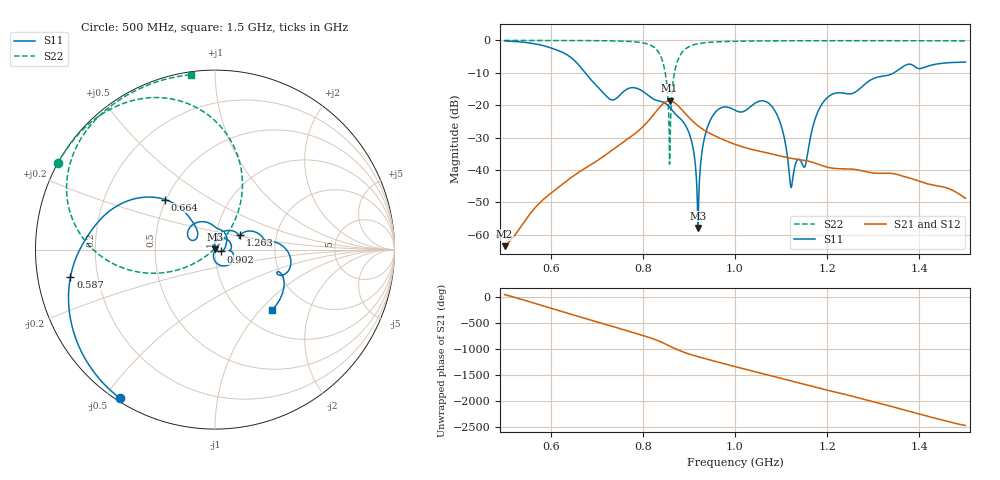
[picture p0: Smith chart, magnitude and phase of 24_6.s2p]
! TOUCHSTONE file generated by CST MICROWAVE STUDIO
! Date and time: Fri Oct  2 18:57:53 2020
! Project name: Scenario_1_Free_Space_out_of_line.cst
! Parameters = {Lambda=346.42; Step_1=17.321; dy1=-51.203; dx1=1039; L_HA=400; MT=2.54; Rad_Dielectric=30; Rad_Lower=7.3; Rad_Upper=30; a_HA=580; a_WG=246; b_HA=500; b_WG=121; c_HA=0; c_WG=187; d_feed=85; h_feed=15; h_lower=18; h_upper=40}
! Header version: 2018
! Port assignment regex: !\s*Touchstone port\s*([0-9]+)\s*=\s*(CST MWS port|CST DS port)\s*([0-9]+|Zmin|Zmax)\s*\(\"(.*)\"\)(\s*mode\s*([0-9]+))?.*
! Touchstone port assignment:
! Touchstone port 1 = CST MWS port 1 ("")
! Touchstone port 2 = CST MWS port 2 ("")
# GHz S DB R 50
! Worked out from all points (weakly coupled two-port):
!   1003 points, 500 MHz to 1.5 GHz, reference 50 ohm
!   highest |S21| = -18.63 dB at 858 MHz (marker M1); lowest = -63.5 dB at 500 MHz (marker M2)
!   lowest |S11| = -57.9 dB at 920 MHz (marker M3), VSWR 1.00, Z = 50 + j0.118 ohm
!   |S11| at or under -10 dB: 675 MHz to 1.345 GHz (669.8 MHz wide, 66.3 % of centre)
!   |S22| runs from -38.2 to 0.0 dB; largest |S21 - S12| = 7.5e-06
!   S11 on the Smith chart (normalised r, x): 500 MHz: 0.01, -0.55; 587 MHz: 0.10, -0.09; 664 MHz: 0.49, +0.33; 902 MHz: 1.07, -0.02; 1.263 GHz: 1.31, +0.22; 1.5 GHz: 1.36, -1.16
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0.5  -0.15 -122.6  -63.51 46.8  -63.51 46.8  -0.01 151.2
0.587  -1.73 -169.3  -48.74 178.8  -48.74 178.8  -0.02 145.1
0.664  -8.08 135.0  -40.42 -24.2  -40.42 -24.2  -0.04 138.6
0.667  -8.59 133.4  -40.14 -32.1  -40.14 -32.1  -0.04 138.3
0.73  -18.23 142.8  -34.20 166.7  -34.20 166.7  -0.13 130.8
0.834  -18.67 80.0  -21.02 -122.2  -21.02 -122.2  -3.63 85.2
0.847  -19.24 62.8  -19.18 -173.2  -19.18 -173.2  -8.81 65.2
0.858  -20.59 45.1  -18.63 139.5  -18.63 139.5  -38.19 64.1
0.874  -23.21 26.2  -19.81 73.3  -19.81 73.3  -6.89 -164.1
0.902  -29.28 -17.3  -24.05 -18.4  -24.05 -18.4  -1.78 167.7
0.92  -57.88 67.1  -26.39 -65.6  -26.39 -65.6  -1.01 158.3
0.946  -24.75 75.2  -28.74 -128.6  -28.74 -128.6  -0.57 149.9
1  -21.55 -3.0  -32.08 105.0  -32.08 105.0  -0.26 140.3
1.08  -20.35 -68.6  -35.04 -76.1  -35.04 -76.1  -0.14 131.5
1.103  -27.71 -102.1  -35.82 -128.4  -35.82 -128.4  -0.12 129.5
1.122  -45.41 -44.3  -36.40 -170.6  -36.40 -170.6  -0.11 127.8
1.152  -38.86 55.0  -37.05 121.0  -37.05 121.0  -0.10 125.4
1.167  -27.72 92.0  -37.57 85.8  -37.57 85.8  -0.10 124.2
1.201  -17.56 53.9  -39.15 11.4  -39.15 11.4  -0.09 121.6
1.263  -15.78 29.9  -39.88 -124.7  -39.88 -124.7  -0.09 116.9
1.334  -10.69 8.9  -40.99 74.8  -40.99 74.8  -0.09 111.5
1.5  -6.69 -46.6  -48.72 55.8  -48.73 55.8  -0.14 97.9
